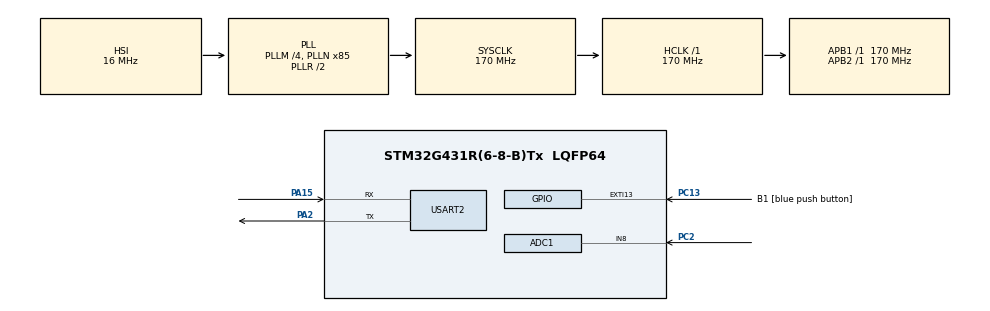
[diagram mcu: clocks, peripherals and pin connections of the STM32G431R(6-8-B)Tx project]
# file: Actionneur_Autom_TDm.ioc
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ADC1.Channel-0\#ChannelRegularConversion=ADC_CHANNEL_8
ADC1.NbrOfConversionFlag=1
ADC1.OffsetNumber-0\#ChannelRegularConversion=ADC_OFFSET_NONE
ADC1.Rank-0\#ChannelRegularConversion=1
ADC1.SamplingTime-0\#ChannelRegularConversion=ADC_SAMPLETIME_2CYCLES_5
ADC1.master=1
Mcu.Family=STM32G4
Mcu.Name=STM32G431R(6-8-B)Tx
Mcu.Package=LQFP64
NVIC.PriorityGroup=NVIC_PRIORITYGROUP_4
NVIC.TIM2_IRQn=true\:0\:0\:false\:false\:true\:true\:true\:true
PA13.GPIO_Label=T_SWDIO
PA13.Signal=SYS_JTMS-SWDIO
PA14.GPIO_Label=T_SWCLK
PA14.Signal=SYS_JTCK-SWCLK
PA15.Mode=Asynchronous
PA15.Signal=USART2_RX
PA2.Mode=Asynchronous
PA2.Signal=USART2_TX
PA3.GPIO_Label=LPUART1_RX [STLINKV3E_VCP_TX]
PA3.Signal=LPUART1_RX
PA5.Signal=S_TIM2_CH1
PB3.GPIO_Label=T_SWO
PB3.Signal=SYS_JTDO-SWO
PC13.GPIO_Label=B1 [blue push button]
PC13.Signal=GPXTI13
PC14-OSC32_IN.GPIO_Label=RCC_OSC32_OUT
PC14-OSC32_IN.Signal=RCC_OSC32_IN
PC15-OSC32_OUT.GPIO_Label=RCC_OSC32_OUT
PC15-OSC32_OUT.Signal=RCC_OSC32_OUT
PC2.Mode=IN8-Single-Ended
PC2.Signal=ADC1_IN8
PF0-OSC_IN.GPIO_Label=RCC_OSC_IN
PF0-OSC_IN.Signal=RCC_OSC_IN
PF1-OSC_OUT.GPIO_Label=RCC_OSC_OUT
PF1-OSC_OUT.Signal=RCC_OSC_OUT
ProjectManager.HeapSize=0x200
ProjectManager.StackSize=0x400
ProjectManager.TargetToolchain=STM32CubeIDE
RCC.ADC12Freq_Value=170000000
RCC.AHBFreq_Value=170000000
RCC.APB1Freq_Value=170000000
RCC.APB1TimFreq_Value=170000000
RCC.APB2Freq_Value=170000000
RCC.APB2TimFreq_Value=170000000
RCC.CortexFreq_Value=170000000
RCC.EXTERNAL_CLOCK_VALUE=12288000
RCC.HCLKFreq_Value=170000000
RCC.HSE_VALUE=24000000
RCC.HSI48_VALUE=48000000
RCC.HSI_VALUE=16000000
RCC.LSE_VALUE=32768
RCC.PLLM=RCC_PLLM_DIV4
RCC.PLLN=85
RCC.RTCClockSelection=RCC_RTCCLKSOURCE_LSE
RCC.SYSCLKFreq_VALUE=170000000
RCC.SYSCLKSource=RCC_SYSCLKSOURCE_PLLCLK
RCC.USBFreq_Value=170000000
RCC.VCOOutputFreq_Value=340000000
SH.S_TIM2_CH1.0=TIM2_CH1
TIM2.Channel-PWM\ Generation1\ No\ Output=TIM_CHANNEL_1
TIM2.PeriodNoDither=169999
TIM2.Prescaler=0
TIM2.PulseNoDither_1=85000
USART2.VirtualMode-Asynchronous=VM_ASYNC
VP_SYS_VS_DBSignals.Mode=DisableDeadBatterySignals
VP_TIM2_VS_ClockSourceINT.Mode=Internal
VP_TIM2_VS_no_output1.Mode=PWM Generation1 No Output
board=NUCLEO-G431RB

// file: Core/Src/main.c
/* USER CODE BEGIN Header */
/**
 ******************************************************************************
 * @file           : main.c
 * @brief          : Main program body
 ******************************************************************************
 * @attention
 *
 * Copyright (c) 2024 STMicroelectronics.
 * All rights reserved.
 *
 * This software is licensed under terms that can be found in the LICENSE file
 * in the root directory of this software component.
 * If no LICENSE file comes with this software, it is provided AS-IS.
 *
 ******************************************************************************
 */
/* USER CODE END Header */
#include "main.h"
#include "adc.h"
#include "tim.h"
#include "usart.h"
#include "gpio.h"

/* USER CODE BEGIN Includes */
#include <stdio.h>
#include <stdlib.h>

/* USER CODE END Includes */

/* USER CODE BEGIN PD */
#define PWM_MAX_VAL 170000

/* USER CODE END PD */

void SystemClock_Config(void);

/* USER CODE BEGIN 0 */
int __io_putchar(int chr)
{
	HAL_UART_Transmit(&huart2, (uint8_t*)&chr, 1, HAL_MAX_DELAY);
	return chr;
}

int sign(int x) {
	return (x > 0) - (x < 0);
}

/* USER CODE END 0 */

int main(void)
{

	/* USER CODE BEGIN 1 */
	int value = 0;
	int incr = 170;
	int ratio_pwm = 0;
	/* USER CODE END 1 */

	/* MCU Configuration--------------------------------------------------------*/

	/* Reset of all peripherals, Initializes the Flash interface and the Systick. */
	HAL_Init();

	/* Configure the system clock */
	SystemClock_Config();

	/* Initialize all configured peripherals */
	MX_GPIO_Init();
	MX_TIM2_Init();
	MX_ADC1_Init();
	MX_USART2_UART_Init();
	/* USER CODE BEGIN 2 */
	HAL_TIM_PWM_Start(&htim2, TIM_CHANNEL_1);
	HAL_ADCEx_Calibration_Start(&hadc1, ADC_SINGLE_ENDED);

	/* USER CODE END 2 */

	/* Infinite loop */
	/* USER CODE BEGIN WHILE */
	while (1)
	{
		// ADC affiché sur la LED
		HAL_ADC_Start(&hadc1);
		HAL_ADC_PollForConversion(&hadc1, 100);
		incr = sign(incr)*HAL_ADC_GetValue(&hadc1)*(PWM_MAX_VAL/4095);
		printf("\r\nRAW pot: %d\r\n", incr);

		// LED mode respiration
		value += incr;
		ratio_pwm = (int)100*value/PWM_MAX_VAL;
		incr = (sign(ratio_pwm)*ratio_pwm>100) ? -incr : incr;
		printf("PWM LED: %d\r\n", value);

		// Envoi de la commande PWM
		__HAL_TIM_SET_COMPARE(&htim2, TIM_CHANNEL_1, sign(value)*value);
		printf("Ratio PWM : %d\r\n", ratio_pwm);

		HAL_Delay(1);

		/* USER CODE END WHILE */

	}
}

void SystemClock_Config(void)
{
	RCC_OscInitTypeDef RCC_OscInitStruct = {0};
	RCC_ClkInitTypeDef RCC_ClkInitStruct = {0};

	/** Configure the main internal regulator output voltage
	 */
	HAL_PWREx_ControlVoltageScaling(PWR_REGULATOR_VOLTAGE_SCALE1_BOOST);

	/** Initializes the RCC Oscillators according to the specified parameters
	 * in the RCC_OscInitTypeDef structure.
	 */
	RCC_OscInitStruct.OscillatorType = RCC_OSCILLATORTYPE_HSI;
	RCC_OscInitStruct.HSIState = RCC_HSI_ON;
	RCC_OscInitStruct.HSICalibrationValue = RCC_HSICALIBRATION_DEFAULT;
	RCC_OscInitStruct.PLL.PLLState = RCC_PLL_ON;
	RCC_OscInitStruct.PLL.PLLSource = RCC_PLLSOURCE_HSI;
	RCC_OscInitStruct.PLL.PLLM = RCC_PLLM_DIV4;
	RCC_OscInitStruct.PLL.PLLN = 85;
	RCC_OscInitStruct.PLL.PLLP = RCC_PLLP_DIV2;
	RCC_OscInitStruct.PLL.PLLQ = RCC_PLLQ_DIV2;
	RCC_OscInitStruct.PLL.PLLR = RCC_PLLR_DIV2;
	if (HAL_RCC_OscConfig(&RCC_OscInitStruct) != HAL_OK)
	{
		Error_Handler();
	}

	/** Initializes the CPU, AHB and APB buses clocks
	 */
	RCC_ClkInitStruct.ClockType = RCC_CLOCKTYPE_HCLK|RCC_CLOCKTYPE_SYSCLK
			|RCC_CLOCKTYPE_PCLK1|RCC_CLOCKTYPE_PCLK2;
	RCC_ClkInitStruct.SYSCLKSource = RCC_SYSCLKSOURCE_PLLCLK;
	RCC_ClkInitStruct.AHBCLKDivider = RCC_SYSCLK_DIV1;
	RCC_ClkInitStruct.APB1CLKDivider = RCC_HCLK_DIV1;
	RCC_ClkInitStruct.APB2CLKDivider = RCC_HCLK_DIV1;

	if (HAL_RCC_ClockConfig(&RCC_ClkInitStruct, FLASH_LATENCY_4) != HAL_OK)
	{
		Error_Handler();
	}
}

void Error_Handler(void)
{
	__disable_irq();
	while (1)
	{
	}
}
